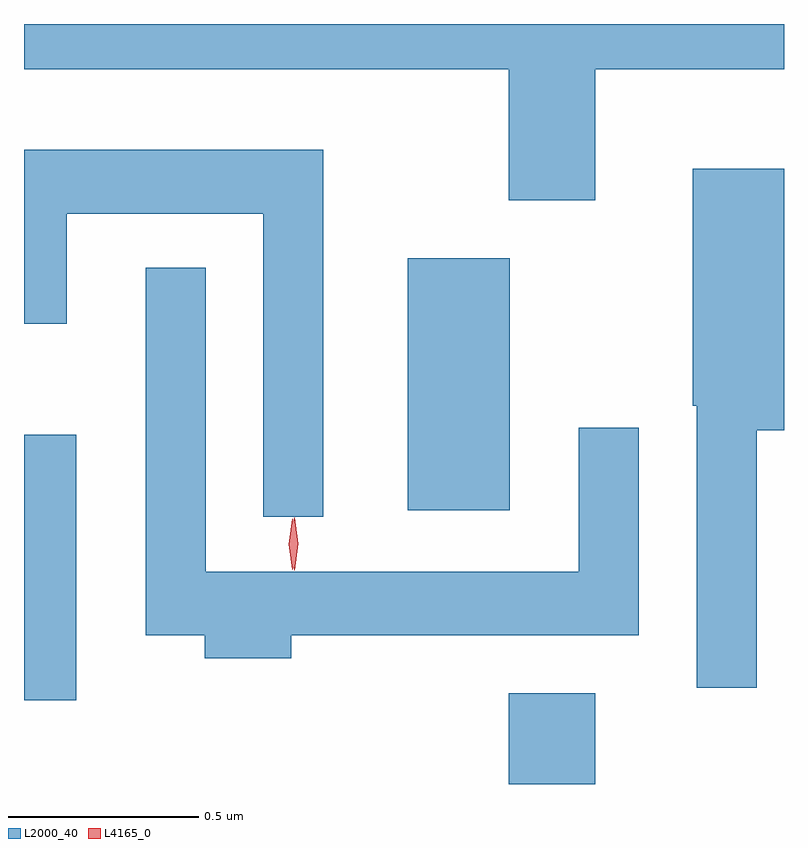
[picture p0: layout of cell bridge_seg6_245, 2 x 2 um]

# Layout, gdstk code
import gdstk
lib = gdstk.Library(unit=1e-6, precision=1e-09)
def R(c, l, rs):  # rectangles x0, y0, x1, y1
    for r in rs: c.add(gdstk.rectangle(r[:2], r[2:], *l))
def P(c, l, *ps):  # polygons
    for p in ps: c.add(gdstk.Polygon(p, *l))
L2000_40 = (2000, 40)
L4165_0 = (4165, 0)

bridge_seg6_245 = lib.new_cell('bridge_seg6_245')
R(bridge_seg6_245, L2000_40, [(1127.571,1548.155,1127.799,1548.394), (1126.296,1548.376,1126.434,1549.074), (1127.306,1548.876,1127.574,1549.539)])
P(bridge_seg6_245, L2000_40, [(1127.799,1550.036),(1128.296,1550.036),(1128.296,1550.155),(1126.296,1550.155),(1126.296,1550.036),(1127.571,1550.036),(1127.571,1549.691),(1127.799,1549.691)],
  [(1127.084,1549.824),(1126.296,1549.824),(1126.296,1549.366),(1126.409,1549.366),(1126.409,1549.656),(1126.926,1549.656),(1126.926,1548.858),(1127.084,1548.858)],
  [(1128.224,1549.086),(1128.296,1549.086),(1128.296,1549.774),(1128.056,1549.774),(1128.056,1549.15),(1128.066,1549.15),(1128.066,1548.408),(1128.224,1548.408)],
  [(1126.999,1548.546),(1127.914,1548.546),(1127.914,1549.093),(1127.756,1549.093),(1127.756,1548.714),(1126.774,1548.714),(1126.774,1549.513),(1126.616,1549.513),(1126.616,1548.546),(1126.771,1548.546),(1126.771,1548.486),(1126.999,1548.486)])
P(bridge_seg6_245, L4165_0, [(1127.002,1548.719),(1127.002,1548.72),(1126.993,1548.786),(1127.002,1548.852),(1127.003,1548.853),(1127.003,1548.852),(1127.012,1548.786),(1127.003,1548.72)],
  [(1127.007,1548.717),(1126.998,1548.787),(1127.007,1548.856),(1127.008,1548.856),(1127.008,1548.856),(1127.018,1548.787),(1127.008,1548.717),(1127.008,1548.717)])

lib.write_gds('bridge_seg6_245.gds')
